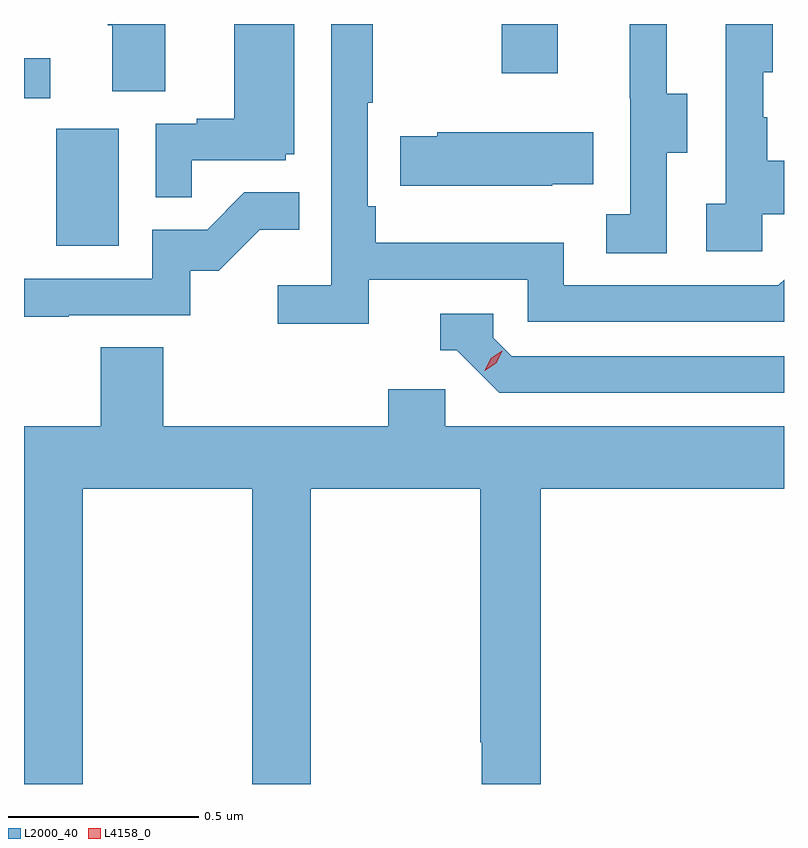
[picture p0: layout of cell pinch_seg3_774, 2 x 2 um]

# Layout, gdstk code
import gdstk
lib = gdstk.Library(unit=1e-6, precision=1e-09)
def R(c, l, rs):  # rectangles x0, y0, x1, y1
    for r in rs: c.add(gdstk.rectangle(r[:2], r[2:], *l))
def P(c, l, *ps):  # polygons
    for p in ps: c.add(gdstk.Polygon(p, *l))
L2000_40 = (2000, 40)
L4158_0 = (4158, 0)

pinch_seg3_774 = lib.new_cell('pinch_seg3_774')
R(pinch_seg3_774, L2000_40, [(850.412,738.852,850.576,739.159), (850.327,739.239,850.396,739.345), (851.584,739.305,851.731,739.435)])
P(pinch_seg3_774, L2000_40, [(850.699,739.435),(850.547,739.435),(850.547,739.432),(850.559,739.432),(850.559,739.258),(850.699,739.258)],
  [(850.769,739.077),(851.016,739.077),(851.016,739.092),(851.038,739.092),(851.038,739.435),(850.88,739.435),(850.88,739.186),(850.781,739.186),(850.781,739.173),(850.674,739.173),(850.674,738.979),(850.769,738.979)],
  [(852.018,739.096),(852.073,739.096),(852.073,739.251),(852.019,739.251),(852.019,739.435),(851.921,739.435),(851.921,739.239),(851.922,739.239),(851.922,738.935),(851.859,738.935),(851.859,738.832),(852.018,738.832)],
  [(852.27,738.935),(852.327,738.935),(852.327,739.075),(852.283,739.075),(852.283,739.19),(852.273,739.19),(852.273,739.308),(852.298,739.308),(852.298,739.435),(852.174,739.435),(852.174,738.962),(852.123,738.962),(852.123,738.837),(852.27,738.837)],
  [(851.234,738.762),(851.652,738.762),(851.652,738.651),(852.327,738.651),(852.327,738.762),(852.312,738.747),(851.748,738.747),(851.748,738.859),(851.252,738.859),(851.252,738.955),(851.232,738.955),(851.232,739.228),(851.245,739.228),(851.245,739.435),(851.136,739.435),(851.136,738.748),(850.995,738.748),(850.995,738.646),(851.234,738.646)],
  [(851.717,739.013),(851.825,739.013),(851.825,739.15),(851.415,739.15),(851.415,739.14),(851.317,739.14),(851.317,739.01),(851.717,739.01)],
  [(850.445,738.669),(850.764,738.669),(850.764,738.786),(850.84,738.786),(850.947,738.893),(851.051,738.893),(851.051,738.992),(850.907,738.992),(850.809,738.894),(850.665,738.894),(850.665,738.765),(850.327,738.765),(850.327,738.664),(850.445,738.664)],
  [(852.327,738.561),(851.61,738.561),(851.562,738.609),(851.562,738.672),(851.423,738.672),(851.423,738.576),(851.466,738.576),(851.577,738.465),(852.327,738.465)],
  [(851.527,737.545),(851.531,737.545),(851.531,737.435),(851.687,737.435),(851.687,738.212),(852.327,738.212),(852.327,738.376),(851.436,738.376),(851.436,738.474),(851.285,738.474),(851.285,738.376),(850.694,738.376),(850.694,738.584),(850.529,738.584),(850.529,738.376),(850.327,738.376),(850.327,737.435),(850.482,737.435),(850.482,738.212),(850.927,738.212),(850.927,737.435),(851.082,737.435),(851.082,738.212),(851.527,738.212)])
P(pinch_seg3_774, L4158_0, [(851.539,738.523),(851.539,738.523),(851.555,738.556),(851.586,738.575),(851.586,738.575),(851.586,738.574),(851.57,738.542),(851.539,738.523)])

lib.write_gds('pinch_seg3_774.gds')
